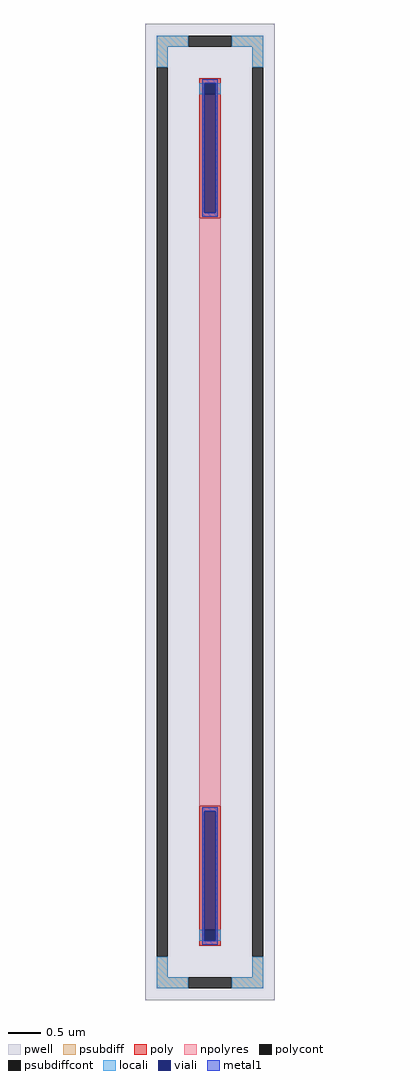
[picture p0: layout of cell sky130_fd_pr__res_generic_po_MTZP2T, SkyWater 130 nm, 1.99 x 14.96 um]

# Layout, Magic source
magic
tech sky130A
magscale 1 2
<< pwell >>
rect -199 -1496 199 1496
<< psubdiff >>
rect -163 1426 -67 1460
rect 67 1426 163 1460
rect -163 1364 -129 1426
rect 129 1364 163 1426
rect -163 -1426 -129 -1364
rect 129 -1426 163 -1364
rect -163 -1460 -67 -1426
rect 67 -1460 163 -1426
<< psubdiffcont >>
rect -67 1426 67 1460
rect -163 -1364 -129 1364
rect 129 -1364 163 1364
rect -67 -1460 67 -1426
<< poly >>
rect -33 1314 33 1330
rect -33 1280 -17 1314
rect 17 1280 33 1314
rect -33 900 33 1280
rect -33 -1280 33 -900
rect -33 -1314 -17 -1280
rect 17 -1314 33 -1280
rect -33 -1330 33 -1314
<< polycont >>
rect -17 1280 17 1314
rect -17 -1314 17 -1280
<< npolyres >>
rect -33 -900 33 900
<< locali >>
rect -163 1426 -67 1460
rect 67 1426 163 1460
rect -163 1364 -129 1426
rect 129 1364 163 1426
rect -33 1280 -17 1314
rect 17 1280 33 1314
rect -33 -1314 -17 -1280
rect 17 -1314 33 -1280
rect -163 -1426 -129 -1364
rect 129 -1426 163 -1364
rect -163 -1460 -67 -1426
rect 67 -1460 163 -1426
<< viali >>
rect -17 1280 17 1314
rect -17 917 17 1280
rect -17 -1280 17 -917
rect -17 -1314 17 -1280
<< metal1 >>
rect -23 1314 23 1326
rect -23 917 -17 1314
rect 17 917 23 1314
rect -23 905 23 917
rect -23 -917 23 -905
rect -23 -1314 -17 -917
rect 17 -1314 23 -917
rect -23 -1326 23 -1314
<< properties >>
string FIXED_BBOX -146 -1443 146 1443
string gencell sky130_fd_pr__res_generic_po
string library sky130
string parameters w 0.330 l 9 m 1 nx 1 wmin 0.330 lmin 1.650 rho 48.2 val 1.314k dummy 0 dw 0.0 term 0.0 sterm 0.0 caplen 0.4 snake 0 guard 1 glc 1 grc 1 gtc 1 gbc 1 roverlap 0 endcov 100 full_metal 1 hv_guard 0 n_guard 0 vias 1 viagb 0 viagt 0 viagl 0 viagr 0
<< end >>
